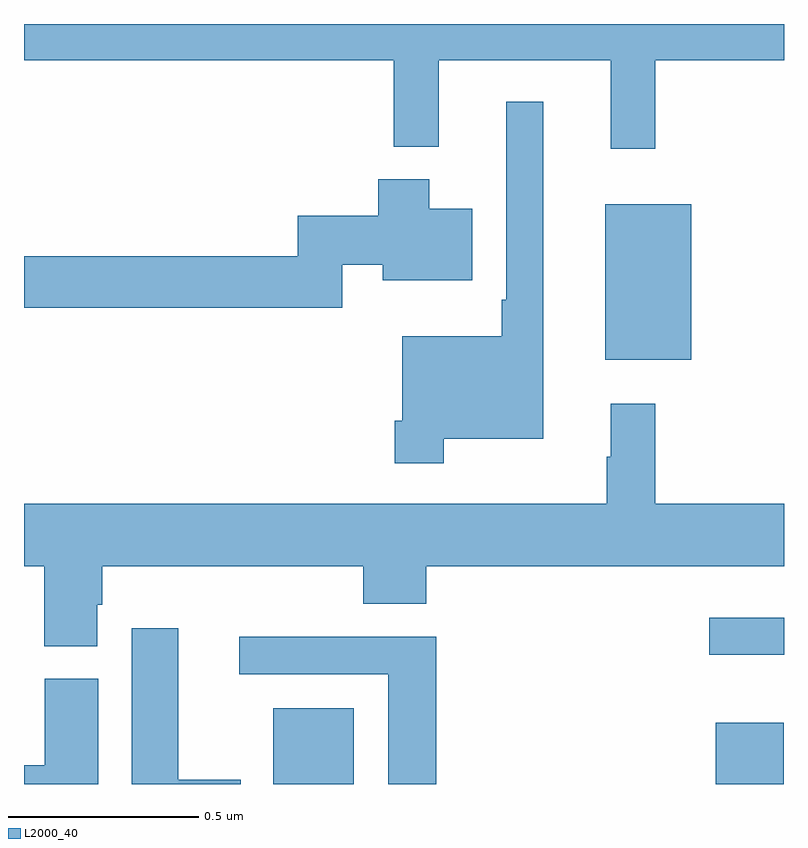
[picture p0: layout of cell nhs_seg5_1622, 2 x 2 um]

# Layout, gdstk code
import gdstk
lib = gdstk.Library(unit=1e-6, precision=1e-09)
def R(c, l, rs):  # rectangles x0, y0, x1, y1
    for r in rs: c.add(gdstk.rectangle(r[:2], r[2:], *l))
def P(c, l, *ps):  # polygons
    for p in ps: c.add(gdstk.Polygon(p, *l))
L2000_40 = (2000, 40)

nhs_seg5_1622 = lib.new_cell('nhs_seg5_1622')
R(nhs_seg5_1622, L2000_40, [(132.656,910.799,132.868,910.999), (133.82,910.799,133.999,910.96), (133.803,911.139,134,911.236), (133.529,911.915,133.756,912.325)])
P(nhs_seg5_1622, L2000_40, [(133.661,912.704),(134,912.704),(134,912.799),(132,912.799),(132,912.704),(132.973,912.704),(132.973,912.476),(133.091,912.476),(133.091,912.704),(133.544,912.704),(133.544,912.471),(133.661,912.471)],
  [(133.105,911.708),(133.366,911.708),(133.366,912.595),(133.269,912.595),(133.269,912.073),(133.257,912.073),(133.257,911.977),(132.996,911.977),(132.996,911.755),(132.976,911.755),(132.976,911.643),(133.105,911.643)],
  [(132.837,912.166),(132.944,912.166),(132.944,912.125),(133.18,912.125),(133.18,912.313),(133.066,912.313),(133.066,912.391),(132.932,912.391),(132.932,912.295),(132.721,912.295),(132.721,912.188),(132,912.188),(132,912.052),(132.837,912.052)],
  [(132.193,911.271),(132.206,911.271),(132.206,911.372),(132.893,911.372),(132.893,911.273),(133.058,911.273),(133.058,911.372),(134,911.372),(134,911.536),(133.661,911.536),(133.661,911.8),(133.544,911.8),(133.544,911.66),(133.533,911.66),(133.533,911.536),(132,911.536),(132,911.372),(132.053,911.372),(132.053,911.161),(132.193,911.161)],
  [(132.571,910.81),(132.406,910.81),(132.406,911.209),(132.284,911.209),(132.284,910.799),(132.571,910.799)],
  [(133.085,911.186),(132.567,911.186),(132.567,911.088),(132.959,911.088),(132.959,910.799),(133.085,910.799)],
  [(132.196,911.076),(132.055,911.076),(132.055,910.849),(132,910.849),(132,910.799),(132.196,910.799)])

lib.write_gds('nhs_seg5_1622.gds')
